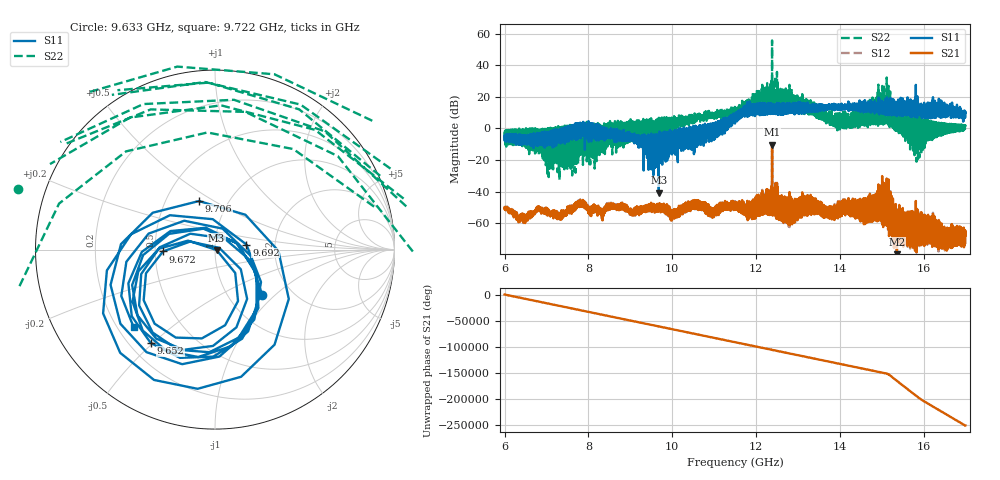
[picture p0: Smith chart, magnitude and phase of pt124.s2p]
#  HZ  S  RI  R  50.00
! Rohde & Schwarz Vector Network Analyzer
! Rohde-Schwarz,ZNA67-2Port,1332450062101215,3.01
! Created: UTC 10/19/2026, 5:07:10 PM
! freq[Hz]  re:S11  im:S11  re:S21  im:S21  re:S12  im:S12  re:S22  im:S22
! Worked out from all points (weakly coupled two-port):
!   11001 points, 6 GHz to 17 GHz, reference 50 ohm
!   highest |S21| = -10.19 dB at 12.38 GHz (marker M1); lowest = -80.5 dB at 15.37 GHz (marker M2)
!   lowest |S11| = -40.6 dB at 9.681 GHz (marker M3), VSWR 1.02, Z = 50.9 - j0.229 ohm
!   |S11| at or under -10 dB: 9.386739 GHz to 9.391423 GHz (4.684 MHz wide, 0.0499 % of centre); 9.398648 GHz to 9.403092 GHz (4.444 MHz wide, 0.0473 % of centre); 9.678979 GHz to 9.683029 GHz (4.051 MHz wide, 0.0418 % of centre) (the widest 3 of 142)
!   |S22| runs from -32.8 to 55.6 dB; largest |S21 - S12| = 0.012
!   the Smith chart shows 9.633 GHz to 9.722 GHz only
!   S11 on the Smith chart (normalised r, x): 9.633 GHz: 1.43, -0.83; 9.652 GHz: 0.28, -0.49; 9.672 GHz: 0.55, -0.01; 9.692 GHz: 1.42, +0.08; 9.706 GHz: 0.73, +0.43; 9.722 GHz: 0.26, -0.38
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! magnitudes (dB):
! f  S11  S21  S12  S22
! 6 GHz  -5.2  -50.0  -49.8  -2.4
! 6.341 GHz  -9.7  -56.7  -56.4  -11.9
! 6.803 GHz  -3.8  -50.1  -50.0  -0.4
! 7.312 GHz  -2.0  -53.6  -53.7  -4.6
! 7.834 GHz  -4.1  -48.2  -48.0  -14.3
! 8.307 GHz  0.8  -51.0  -51.1  1.5
! 9.633 GHz  -8.8  -51.3  -51.4  1.2
! 9.652 GHz  -4.0  -50.6  -50.9  0.6
! 9.667 GHz  -6.9  -52.2  -52.4  -2.6
! 9.672 GHz  -10.8  -48.5  -48.7  4.0
! 9.681 GHz  -40.6  -50.8  -51.1  4.4
! 9.692 GHz  -15.0  -51.1  -51.4  1.9
! 9.706 GHz  -10.9  -48.9  -49.1  5.2
! 9.722 GHz  -4.1  -51.4  -51.7  1.6
! 11.5 GHz  4.3  -49.7  -49.4  9.4
! 12.38 GHz  10.0  -10.2  -10.5  55.6
! 12.81 GHz  15.3  -50.5  -50.5  17.8
! 13.33 GHz  11.7  -50.7  -50.3  10.5
! 13.96 GHz  14.5  -48.9  -49.5  7.4
! 15.17 GHz  10.8  -59.1  -59.2  3.3
! 15.37 GHz  10.7  -80.5  -80.1  -0.3
! 17 GHz  9.9  -67.8  -68.4  1.4
